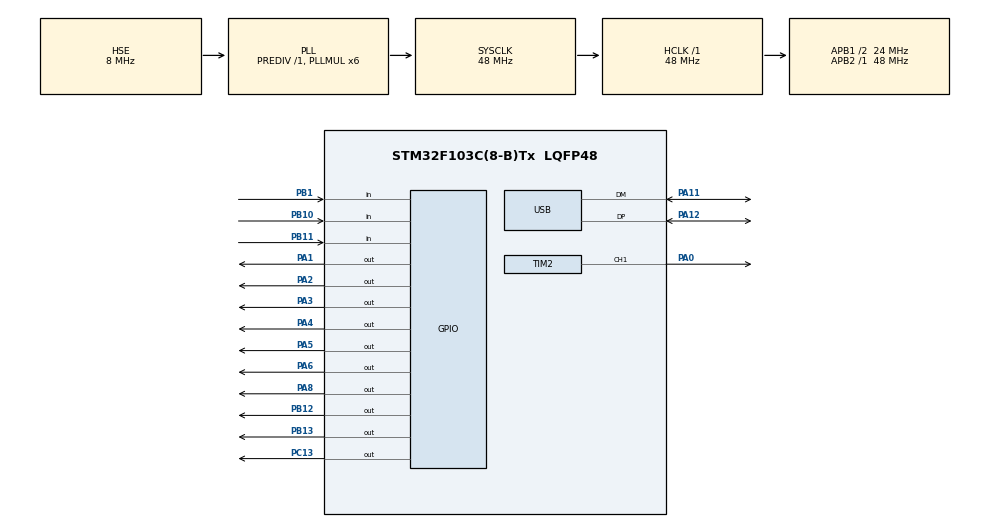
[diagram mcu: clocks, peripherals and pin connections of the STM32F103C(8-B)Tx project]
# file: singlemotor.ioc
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Mcu.Family=STM32F1
Mcu.Name=STM32F103C(8-B)Tx
Mcu.Package=LQFP48
NVIC.PriorityGroup=NVIC_PRIORITYGROUP_4
NVIC.TIM3_IRQn=true\:15\:0\:false\:false\:true\:false\:true\:true
NVIC.TimeBase=TIM3_IRQn
NVIC.TimeBaseIP=TIM3
NVIC.USB_LP_CAN1_RX0_IRQn=true\:0\:0\:false\:false\:true\:false\:true\:true
PA0-WKUP.Signal=S_TIM2_CH1_ETR
PA1.Signal=GPIO_Output
PA11.Mode=Device
PA11.Signal=USB_DM
PA12.Mode=Device
PA12.Signal=USB_DP
PA13.Mode=Serial_Wire
PA13.Signal=SYS_JTMS-SWDIO
PA14.Mode=Serial_Wire
PA14.Signal=SYS_JTCK-SWCLK
PA2.Signal=GPIO_Output
PA3.Signal=GPIO_Output
PA4.Signal=GPIO_Output
PA5.Signal=GPIO_Output
PA6.Signal=GPIO_Output
PA8.Signal=GPIO_Output
PB1.GPIO_PuPd=GPIO_PULLUP
PB1.Signal=GPIO_Input
PB10.GPIO_PuPd=GPIO_PULLUP
PB10.Signal=GPIO_Input
PB11.GPIO_PuPd=GPIO_PULLUP
PB11.Signal=GPIO_Input
PB12.Signal=GPIO_Output
PB13.Signal=GPIO_Output
PC13-TAMPER-RTC.Signal=GPIO_Output
PD0-OSC_IN.Mode=HSE-External-Oscillator
PD0-OSC_IN.Signal=RCC_OSC_IN
PD1-OSC_OUT.Mode=HSE-External-Oscillator
PD1-OSC_OUT.Signal=RCC_OSC_OUT
ProjectManager.HeapSize=0x200
ProjectManager.StackSize=0x400
ProjectManager.TargetToolchain=STM32CubeIDE
RCC.AHBFreq_Value=48000000
RCC.APB1CLKDivider=RCC_HCLK_DIV2
RCC.APB1Freq_Value=24000000
RCC.APB1TimFreq_Value=48000000
RCC.APB2Freq_Value=48000000
RCC.APB2TimFreq_Value=48000000
RCC.HCLKFreq_Value=48000000
RCC.PLLMUL=RCC_PLL_MUL6
RCC.PLLSourceVirtual=RCC_PLLSOURCE_HSE
RCC.SYSCLKFreq_VALUE=48000000
RCC.SYSCLKSource=RCC_SYSCLKSOURCE_PLLCLK
RCC.USBFreq_Value=48000000
SH.S_TIM2_CH1_ETR.0=TIM2_CH1,PWM Generation1 CH1
TIM1.Prescaler=2400
TIM2.Channel-PWM\ Generation1\ CH1=TIM_CHANNEL_1
TIM2.Prescaler=2400
USB_DEVICE.CLASS_NAME_FS=CDC
USB_DEVICE.PRODUCT_STRING_CDC_FS=STM32 Virtual Port
USB_DEVICE.VirtualMode=Cdc
USB_DEVICE.VirtualModeFS=Cdc_FS
VP_SYS_VS_tim3.Mode=TIM3
VP_TIM1_VS_ClockSourceINT.Mode=Internal
VP_TIM2_VS_ClockSourceINT.Mode=Internal
VP_USB_DEVICE_VS_USB_DEVICE_CDC_FS.Mode=CDC_FS
board=custom

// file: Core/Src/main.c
/* USER CODE BEGIN Header */
/**
  ******************************************************************************
  * @file           : main.c
  * @brief          : Main program body
  ******************************************************************************
  * @attention
  *
  * Copyright (c) 2024 STMicroelectronics.
  * All rights reserved.
  *
  * This software is licensed under terms that can be found in the LICENSE file
  * in the root directory of this software component.
  * If no LICENSE file comes with this software, it is provided AS-IS.
  *
  ******************************************************************************
  *///NEW siglemotor
/* USER CODE END Header */
#include "main.h"
#include "usb_device.h"

/* USER CODE BEGIN Includes */
#include "usbd_cdc_if.h"
#include "string.h "
#include "math.h"
/* USER CODE END Includes */

TIM_HandleTypeDef htim1;
TIM_HandleTypeDef htim2;

void SystemClock_Config(void);
static void MX_GPIO_Init(void);
static void MX_TIM1_Init(void);
static void MX_TIM2_Init(void);
/* USER CODE BEGIN PFP */
char *data = "done\n";
char *data1 = "top\n";
char *data2 = "csv";
char *data3 = "Completed\n";
char *bot = "bottom";
char *detect = "cambottomdetected";
char *undetect = "cambottomundetected";
char *feeder = "feederok";
uint8_t buffer[128];
/* USER CODE END PFP */

/* USER CODE BEGIN 0 */
#define MOTORy_STEP_PIN GPIO_PIN_1
#define MOTORy_STEP_PORT GPIOA
#define MOTORy_DIR_PIN GPIO_PIN_2
#define MOTORy_DIR_PORT GPIOA

#define MOTORx_STEP_PIN GPIO_PIN_3
#define MOTORx_STEP_PORT GPIOA
#define MOTORx_DIR_PIN GPIO_PIN_4
#define MOTORx_DIR_PORT GPIOA
//
#define MOTORz_STEP_PIN GPIO_PIN_5
#define MOTORz_STEP_PORT GPIOA
#define MOTORz_DIR_PIN GPIO_PIN_6
#define MOTORz_DIR_PORT GPIOA

#define MOTORr_STEP_PIN GPIO_PIN_13
#define MOTORr_STEP_PORT GPIOB
#define MOTORr_DIR_PIN GPIO_PIN_8
#define MOTORr_DIR_PORT GPIOA

#define PUMPER_PIN GPIO_PIN_12
#define PUMPER_PORT GPIOB
//Markhead
uint16_t home = 0;
uint16_t test;
volatile int cx=0;
volatile int cy =0;
float Rtest=0;
char *bufftest;
int standby=0;
/* Define motor directions */
#define MOTORy_FORWARD GPIO_PIN_SET
#define MOTORy_BACKWARD GPIO_PIN_RESET
#define MOTORx_LEFT GPIO_PIN_RESET
#define MOTORx_RIGHT GPIO_PIN_SET
#define MOTORz_UP GPIO_PIN_SET
#define MOTORz_DOWN GPIO_PIN_RESET
#define MOTORr_clockwise GPIO_PIN_SET

#define PUMP_OFF GPIO_PIN_RESET
#define PUMP_ON GPIO_PIN_SET
//#define LIMIT_X_PIN GPIO_PIN_10
//#define LIMIT_X_PORT GPIOB
#define LIMIT_Y_PIN GPIO_PIN_10
#define LIMIT_Y_PORT GPIOB
#define LIMIT_X_PIN GPIO_PIN_11
#define LIMIT_X_PORT GPIOB
#define LIMIT_Z_PIN GPIO_PIN_1
#define LIMIT_Z_PORT GPIOB

#define axis_X 1
#define axis_Y 2
#define axis_Z 3
#define axis_r 4
//Set
uint16_t max_pos_y = 160;
uint16_t max_pul_y = 32000;
uint16_t max_pos_x = 200;
uint16_t max_pul_x = 40000;
uint16_t max_pos_z = 400;
uint16_t max_pul_z = 8000;
uint16_t max_pos_r = 360;
uint16_t max_pul_r = 6400;
float moveX=0,moveY=0;
void delay_1ms(void)
{
 __HAL_TIM_SetCounter(&htim1, 0);
 while (__HAL_TIM_GetCounter(&htim1)<1);//fix 20 to delay 1ms 10 is a half = 0.5ms
}

void delay_ms(int time)
{
 int i = 0;
 for(i = 0; i < time; i++)
 {
   delay_1ms();
 }
}

void MotorY (unsigned long long steps, uint8_t direction)
{
  uint16_t AccMax = 1;
  int x;
  if (direction == 0)
	  HAL_GPIO_WritePin(MOTORy_DIR_PORT, MOTORy_DIR_PIN, MOTORy_BACKWARD);
  else
	  HAL_GPIO_WritePin(MOTORy_DIR_PORT, MOTORy_DIR_PIN, MOTORy_FORWARD);
  for(x=0; x<steps; x=x+1)
  {

	HAL_GPIO_WritePin(MOTORy_STEP_PORT, MOTORy_STEP_PIN, GPIO_PIN_SET);
	delay_ms(AccMax);
	HAL_GPIO_WritePin(MOTORy_STEP_PORT, MOTORy_STEP_PIN, GPIO_PIN_RESET);
	delay_ms(AccMax);
  }
}
void SetHomeY()
{
	  uint16_t AccMax = 1;
		HAL_GPIO_WritePin(MOTORy_DIR_PORT, MOTORy_DIR_PIN, GPIO_PIN_RESET);
		while(HAL_GPIO_ReadPin(LIMIT_Y_PORT,LIMIT_Y_PIN))
		{

		HAL_GPIO_WritePin(MOTORy_STEP_PORT, MOTORy_STEP_PIN, GPIO_PIN_SET);
		delay_ms(AccMax);
		HAL_GPIO_WritePin(MOTORy_STEP_PORT, MOTORy_STEP_PIN, GPIO_PIN_RESET);
		delay_ms(AccMax);
		}

}
void MotorX (uint16_t steps, uint8_t direction)
{
  uint16_t AccMax = 1;

  uint16_t x;
  if (direction == 0)
	  HAL_GPIO_WritePin(MOTORx_DIR_PORT, MOTORx_DIR_PIN, MOTORx_LEFT);
  else
	  HAL_GPIO_WritePin(MOTORx_DIR_PORT, MOTORx_DIR_PIN, MOTORx_RIGHT);
  for(x=0; x<steps; x=x+1)
  {

	HAL_GPIO_WritePin(MOTORx_STEP_PORT, MOTORx_STEP_PIN, GPIO_PIN_SET);
	delay_ms(AccMax);
	HAL_GPIO_WritePin(MOTORx_STEP_PORT, MOTORx_STEP_PIN, GPIO_PIN_RESET);
	delay_ms(AccMax);
  }
}
void SetHomeX()
{
	  uint16_t AccMax = 1;
		HAL_GPIO_WritePin(MOTORx_DIR_PORT, MOTORx_DIR_PIN, MOTORx_LEFT);
		while(HAL_GPIO_ReadPin(LIMIT_X_PORT,LIMIT_X_PIN))
		{

		HAL_GPIO_WritePin(MOTORx_STEP_PORT, MOTORx_STEP_PIN, GPIO_PIN_SET);
		delay_ms(AccMax);
		HAL_GPIO_WritePin(MOTORx_STEP_PORT, MOTORx_STEP_PIN, GPIO_PIN_RESET);
		delay_ms(AccMax);
		}
		//MotorX(600,1);
}
void MotorZ (unsigned long long steps, uint8_t direction)
{
  uint16_t AccMax = 4;
  int x;
  if (direction == 0)
	  HAL_GPIO_WritePin(MOTORz_DIR_PORT, MOTORz_DIR_PIN, MOTORz_DOWN);
  else
	  HAL_GPIO_WritePin(MOTORz_DIR_PORT, MOTORz_DIR_PIN, MOTORz_UP);
  for(x=0; x<steps; x=x+1)
  {
	HAL_GPIO_WritePin(MOTORz_STEP_PORT, MOTORz_STEP_PIN, GPIO_PIN_SET);
	delay_ms(AccMax);
	HAL_GPIO_WritePin(MOTORz_STEP_PORT, MOTORz_STEP_PIN, GPIO_PIN_RESET);
	delay_ms(AccMax);
  }

}
void MotorR (unsigned long long steps, uint8_t direction)
{
  uint16_t AccMax = 1;
  int x;
  if (direction == 0)
	  HAL_GPIO_WritePin(MOTORr_DIR_PORT, MOTORr_DIR_PIN, MOTORr_clockwise);
  else
	  HAL_GPIO_WritePin(MOTORr_DIR_PORT, MOTORr_DIR_PIN, GPIO_PIN_RESET);
  for(x=0; x<steps; x=x+1)
  {
	HAL_GPIO_WritePin(MOTORr_STEP_PORT, MOTORr_STEP_PIN, GPIO_PIN_SET);
	delay_ms(AccMax);
	HAL_GPIO_WritePin(MOTORr_STEP_PORT, MOTORr_STEP_PIN, GPIO_PIN_RESET);
	delay_ms(AccMax);
  }

}
void SetHomeZ()
{
	uint16_t AccMax = 1;
			HAL_GPIO_WritePin(MOTORz_DIR_PORT, MOTORz_DIR_PIN, GPIO_PIN_SET);
			while(HAL_GPIO_ReadPin(LIMIT_Z_PORT,LIMIT_Z_PIN))
			{

			HAL_GPIO_WritePin(MOTORz_STEP_PORT, MOTORz_STEP_PIN, GPIO_PIN_SET);
			delay_ms(AccMax);
			HAL_GPIO_WritePin(MOTORz_STEP_PORT, MOTORz_STEP_PIN, GPIO_PIN_RESET);
			delay_ms(AccMax);
			}
}

uint16_t convert(float pos, int axis)
{
    float max_pos = -1;
    float max_pul =  -1;
	switch(axis)
	{
	case axis_X:
		max_pos = (float)max_pos_x;
		max_pul = (float)max_pul_x;
		break;
	case axis_Y:
		max_pos = (float)max_pos_y;
		max_pul = (float)max_pul_y;
		break;
	case axis_r:
		max_pos = (float)max_pos_r;
		max_pul = (float)max_pul_r;
		break;
	}
	if(max_pul != -1 && max_pos!=-1)
	{
		float PosPerPul = max_pos/max_pul;
		uint16_t reqpul = (uint16_t)ceil(fabs(pos) / PosPerPul);
		test = reqpul;
		if(pos>0)
		{
			switch(axis)
			{
			case axis_X:
				MotorX(reqpul,1);
				break;
			case axis_Y:
				MotorY(reqpul,1);
				break;
			case axis_r:
				MotorR(reqpul,1);
				break;
			}
		}
		else
		{
			switch(axis)
			{
			case axis_X:
				MotorX(reqpul,0);
				break;
			case axis_Y:
				MotorY(reqpul,0);
				break;
			case axis_r:
				MotorR(reqpul,0);
				break;
			}
		}
	}
}

void reversepcb()
{
	delay_ms(500);
	MotorX(16800,0);
	delay_ms(1500);
}

void clearBuffer() {
    memset(buffer, 0, sizeof(buffer));
}

void centerPCB()
{

	uint16_t AccMax = 1;
	//17020
	HAL_GPIO_WritePin(MOTORx_DIR_PORT, MOTORx_DIR_PIN, GPIO_PIN_SET);
	HAL_GPIO_WritePin(MOTORy_DIR_PORT, MOTORy_DIR_PIN, GPIO_PIN_SET);

//34310
	for(int i = 0;i<17860;i++)//17860
	{
		//pulseY--;
		if(i<=9300)//9600
		{
			HAL_GPIO_WritePin(MOTORx_STEP_PORT, MOTORx_STEP_PIN, GPIO_PIN_SET);
			HAL_GPIO_WritePin(MOTORy_STEP_PORT, MOTORy_STEP_PIN, GPIO_PIN_SET);
			delay_ms(AccMax);
			HAL_GPIO_WritePin(MOTORx_STEP_PORT, MOTORx_STEP_PIN, GPIO_PIN_RESET);
			HAL_GPIO_WritePin(MOTORy_STEP_PORT, MOTORy_STEP_PIN, GPIO_PIN_RESET);
			delay_ms(AccMax);
		}
		else
		{
			HAL_GPIO_WritePin(MOTORx_STEP_PORT, MOTORx_STEP_PIN, GPIO_PIN_SET);
			delay_ms(AccMax);
			HAL_GPIO_WritePin(MOTORx_STEP_PORT, MOTORx_STEP_PIN, GPIO_PIN_RESET);
			delay_ms(AccMax);
		}
	}

}
void centerCam()
{
	uint16_t AccMax = 1;
	//17020
	HAL_GPIO_WritePin(MOTORx_DIR_PORT, MOTORx_DIR_PIN, GPIO_PIN_SET);
	HAL_GPIO_WritePin(MOTORy_DIR_PORT, MOTORy_DIR_PIN, GPIO_PIN_SET);

	for(int i = 0;i<9460;i++)
	{
		//pulseY--;
		if(i<4980)
		{
			HAL_GPIO_WritePin(MOTORx_STEP_PORT, MOTORx_STEP_PIN, GPIO_PIN_SET);
			HAL_GPIO_WritePin(MOTORy_STEP_PORT, MOTORy_STEP_PIN, GPIO_PIN_SET);
			delay_ms(AccMax);
			HAL_GPIO_WritePin(MOTORx_STEP_PORT, MOTORx_STEP_PIN, GPIO_PIN_RESET);
			HAL_GPIO_WritePin(MOTORy_STEP_PORT, MOTORy_STEP_PIN, GPIO_PIN_RESET);
			delay_ms(AccMax);
		}
		else
		{
			HAL_GPIO_WritePin(MOTORy_STEP_PORT, MOTORy_STEP_PIN, GPIO_PIN_SET);
			delay_ms(AccMax);
			HAL_GPIO_WritePin(MOTORy_STEP_PORT, MOTORy_STEP_PIN, GPIO_PIN_RESET);
			delay_ms(AccMax);
		}
	}
}
void SetHomeV2(int a)
{

	SetHomeZ();
	uint16_t AccMax = 1;
	HAL_GPIO_WritePin(MOTORx_DIR_PORT, MOTORx_DIR_PIN, GPIO_PIN_RESET);
	HAL_GPIO_WritePin(MOTORy_DIR_PORT, MOTORy_DIR_PIN, GPIO_PIN_RESET);
	while(1)
	{

		if(HAL_GPIO_ReadPin(LIMIT_X_PORT,LIMIT_X_PIN) && HAL_GPIO_ReadPin(LIMIT_Y_PORT,LIMIT_Y_PIN))
		{
			HAL_GPIO_WritePin(MOTORx_STEP_PORT, MOTORx_STEP_PIN, GPIO_PIN_SET);
			HAL_GPIO_WritePin(MOTORy_STEP_PORT, MOTORy_STEP_PIN, GPIO_PIN_SET);
			delay_ms(AccMax);
			HAL_GPIO_WritePin(MOTORx_STEP_PORT, MOTORx_STEP_PIN, GPIO_PIN_RESET);
			HAL_GPIO_WritePin(MOTORy_STEP_PORT, MOTORy_STEP_PIN, GPIO_PIN_RESET);
			delay_ms(AccMax);
		}
		else if(HAL_GPIO_ReadPin(LIMIT_X_PORT,LIMIT_X_PIN) && !HAL_GPIO_ReadPin(LIMIT_Y_PORT,LIMIT_Y_PIN))
		{
			HAL_GPIO_WritePin(MOTORx_STEP_PORT, MOTORx_STEP_PIN, GPIO_PIN_SET);
			delay_ms(AccMax);
			HAL_GPIO_WritePin(MOTORx_STEP_PORT, MOTORx_STEP_PIN, GPIO_PIN_RESET);
			delay_ms(AccMax);
		}
		else if(!HAL_GPIO_ReadPin(LIMIT_X_PORT,LIMIT_X_PIN) && HAL_GPIO_ReadPin(LIMIT_Y_PORT,LIMIT_Y_PIN))
				{
					HAL_GPIO_WritePin(MOTORy_STEP_PORT, MOTORy_STEP_PIN, GPIO_PIN_SET);
					delay_ms(AccMax);
					HAL_GPIO_WritePin(MOTORy_STEP_PORT, MOTORy_STEP_PIN, GPIO_PIN_RESET);
					delay_ms(AccMax);
				}
		else if(!HAL_GPIO_ReadPin(LIMIT_X_PORT,LIMIT_X_PIN) && !HAL_GPIO_ReadPin(LIMIT_Y_PORT,LIMIT_Y_PIN))
		{

			if(a==0)
			{
				//delay_ms(1000);
				centerPCB();
				//MotorZ(7000,0);
			}
			else if(a==1)
			{
				//delay_ms(10500);
				centerCam();
				//MotorZ(5000,0);
			}
			break;
		}
	}
}

void SetHomePNP()
{
//	  SetHomeZ();
//	  delay_ms(500);
//	  SetHomeX();
//	  delay_ms(500);
//	  MotorX(4000,1);
//	  delay_ms(500);
//	  SetHomeY();
//	  delay_ms(500);
//	  MotorY(8000,1);
	SetHomeZ();
	delay_ms(1000);
	SetHomeX();
	delay_ms(1000);
			 // MotorX(5400,1);//-100
	convert(20,axis_X); //R3 54
	delay_ms(1000);
	SetHomeY();
	delay_ms(1000);
			  //MotorY(4300,1);
	convert(37.5,axis_Y);//45.5
	delay_ms(1500);

}

void SetHome2()
{
	SetHomeZ();
	delay_ms(1000);
	SetHomeX();
	delay_ms(1000);
	// MotorX(5400,1);//-100
	convert(85.1,axis_X); //R3 54
	delay_ms(1000);
	SetHomeY();
	delay_ms(1000);
	//MotorY(4300,1);
	convert(44.3,axis_Y);//43.1
	delay_ms(1500);
}
void centerFeederV2()
{
	uint16_t AccMax = 1;
		//17020
		HAL_GPIO_WritePin(MOTORx_DIR_PORT, MOTORx_DIR_PIN, GPIO_PIN_SET);
		HAL_GPIO_WritePin(MOTORy_DIR_PORT, MOTORy_DIR_PIN, GPIO_PIN_SET);

		for(int i = 0;i<17690;i++)
		{
			//pulseY--;
			if(i<=9260)
			{
				HAL_GPIO_WritePin(MOTORx_STEP_PORT, MOTORx_STEP_PIN, GPIO_PIN_SET);
				HAL_GPIO_WritePin(MOTORy_STEP_PORT, MOTORy_STEP_PIN, GPIO_PIN_SET);
				delay_ms(AccMax);
				HAL_GPIO_WritePin(MOTORx_STEP_PORT, MOTORx_STEP_PIN, GPIO_PIN_RESET);
				HAL_GPIO_WritePin(MOTORy_STEP_PORT, MOTORy_STEP_PIN, GPIO_PIN_RESET);
				delay_ms(AccMax);
			}
			else
			{
				HAL_GPIO_WritePin(MOTORx_STEP_PORT, MOTORx_STEP_PIN, GPIO_PIN_SET);
				delay_ms(AccMax);
				HAL_GPIO_WritePin(MOTORx_STEP_PORT, MOTORx_STEP_PIN, GPIO_PIN_RESET);
				delay_ms(AccMax);
			}
		}

}

void centerFeeder()
{
	uint16_t AccMax = 1;
	//17020
	HAL_GPIO_WritePin(MOTORx_DIR_PORT, MOTORx_DIR_PIN, GPIO_PIN_SET);
	HAL_GPIO_WritePin(MOTORy_DIR_PORT, MOTORy_DIR_PIN, GPIO_PIN_SET);

	for(int i = 0;i<21000;i++)
	{
		//pulseY--;
		if(i<16400)
		{
			HAL_GPIO_WritePin(MOTORx_STEP_PORT, MOTORx_STEP_PIN, GPIO_PIN_SET);
			HAL_GPIO_WritePin(MOTORy_STEP_PORT, MOTORy_STEP_PIN, GPIO_PIN_SET);
			delay_ms(AccMax);
			HAL_GPIO_WritePin(MOTORx_STEP_PORT, MOTORx_STEP_PIN, GPIO_PIN_RESET);
			HAL_GPIO_WritePin(MOTORy_STEP_PORT, MOTORy_STEP_PIN, GPIO_PIN_RESET);
			delay_ms(AccMax);
		}
		else
		{
			HAL_GPIO_WritePin(MOTORy_STEP_PORT, MOTORy_STEP_PIN, GPIO_PIN_SET);
			delay_ms(AccMax);
			HAL_GPIO_WritePin(MOTORy_STEP_PORT, MOTORy_STEP_PIN, GPIO_PIN_RESET);
			delay_ms(AccMax);
		}
	}
}

void checkpointcambot()
{
	  //delay_ms(500);
	  MotorX(16800,1);
	  delay_ms(500);
	 // MotorY(20,0);

}

void checkpointfeeder()
{
	  delay_ms(500);
	  MotorY(21100,1);//20950
}
void Checkbottom()
{

	MotorY(21100,0);
	delay_ms(2500);
	CDC_Transmit_FS(bot, strlen((char*)bot));
	ListenBot("cambottomok");

}
void testbottom()
{
	MotorY(21100,0);
	delay_ms(15000);
}
void CamTopFeeder()
{
	MotorX(12580,0);
	delay_ms(1500);
	MotorY(5700,1);
	delay_ms(1500);
}
void reverseFeeder()
{
		MotorX(12580,1);
		delay_ms(1500);
		MotorY(5700,0);
		delay_ms(1500);
}
void listen(char* message)
{

    while (strcmp((char*)buffer, message) != 0)
    {
        delay_ms(4000);
    }

    //CDC_Transmit_FS(data, strlen((char*)data));
}
void ListenBot(char* message)
{
	int startTime = HAL_GetTick();
	clearBuffer();
	  while (strcmp((char*)buffer, message) != 0)
	    {
		          if (HAL_GetTick() - startTime >= 20000)
		          {
		        	 // checkpointfeeder();
		        	 // SetHomeV2(0);
		        	  clearBuffer();
		        	  HAL_GPIO_WritePin(PUMPER_PORT, PUMPER_PIN, PUMP_OFF);
		        	  listen("start");
		        	  run();
		        	  //run();
		        	  //  NVIC_SystemReset();
		              return;//NVIC_SystemReset(); // Reset the STM32
		          }

	        delay_ms(4000);
	    }
	  return;

}
char numStr[21];
void ull_to_string(char* str, unsigned long long a) {
    char convert[21]; // Buffer to hold the number plus a null-terminator
    int i = 0;

    if (a == 0) {
        convert[i++] = '0';
    }

    // Convert number to string in reverse order
    while (a != 0) {
        unsigned long long last_digit = a % 10;
        convert[i++] = '0' + last_digit;
        a /= 10;
    }

    convert[i] = '\0'; // Null-terminate the string

    // Reverse the string
    int j;
    for (j = 0; j < i / 2; j++) {
        char tmp = convert[j];
        convert[j] = convert[i - 1 - j];
        convert[i - 1 - j] = tmp;
    }

    strcpy(str, convert); // Copy the reversed string to the output
}
void float_to_string(char* str, float value) {
    sprintf(str,"%.3f", value); // Convert float to string with 6 decimal places
}

struct PartData {
    char part_id; // Store only the first character of the Part ID
    float rotation;
    float x;
    float y;
};
//markcomp
#define MAX_PARTS 100
struct PartData parts[MAX_PARTS];

int part_count = 0;
uint8_t newdata[64];
// Function to parse incoming data string
struct PartData parseDataString(char *data) {
    char *token = strtok(data, ",");
    struct PartData partData;
    // Store part_id
    if (token != NULL)
        partData.part_id = token[0]; // Store only the first character of the Part ID

    // Move to the next token and store rotation
    token = strtok(NULL, ",");
    if (token != NULL)
        partData.rotation = atof(token); // Convert string to float

    // Move to the next token and store x
    token = strtok(NULL, ",");
    if (token != NULL)
        partData.x = atof(token); // Convert string to float

    // Move to the next token and store y
    token = strtok(NULL, ",");
    if (token != NULL)
        partData.y = atof(token); // Convert string to float
    return partData;
}

void SendCheckY()
{
	char numStr[32];

	    for (int i = 0; i < part_count; i++) {
	        float_to_string(numStr, parts[i].y);
	        delay_ms(500);
	        CDC_Transmit_FS((uint8_t *)numStr, strlen(numStr));
	        delay_ms(2000);
	    }
}

void SendCheck() {
    for (int i = 0; i < part_count; i++) {
        char message[2]; // Buffer to hold the part_id and a null terminator
        message[0] = parts[i].part_id; // Assign the part ID to the first character
        message[1] = '\0'; // Null-terminate the string

        CDC_Transmit_FS((uint8_t*)message, 1); // Send only the part_id character
        delay_ms(4000); // Adjust the delay as needed
    }
}
void Component()
{
	CDC_Transmit_FS(data2, strlen((char*)data2));
	clearBuffer();
	char *end = "end";
	 while (strcmp((char*)buffer, end) != 0)
	  {
		 CDC_Transmit_FS(buffer, strlen((char*)buffer));
		 struct PartData partData = parseDataString(buffer);
		 // Only add parts with non-zero x and y values
		         if (fabs(partData.x) > 0.0001 && fabs(partData.y) > 0.0001)
		         {
		             parts[part_count++] = partData;
		         }
		 clearBuffer();
		 	delay_ms(6000);
	  }
	 CDC_Transmit_FS(data3, strlen((char*)data3));
	 delay_ms(2000);
}

void Joystick()
{
	char *calib = "calib";
	//clearBuffer();
	//transmit somthign trigger python
	CDC_Transmit_FS(calib, strlen((char*)calib));
		clearBuffer();
		char *end = "start";
		 while (strcmp((char*)buffer, end) != 0)
		  {
			 if (strcmp(buffer, "forward") == 0)
			 {
			     MotorY(20, 0);
			     cy = cy + 20;
			     clearBuffer();  // Clear buffer after processing command
			     delay_ms(500);

			 }
			 else if (strcmp(buffer, "backward") == 0)
			 {
			     MotorY(20, 1);
			     clearBuffer();  // Clear buffer after processing command
			     delay_ms(500);

			 }
			 else if (strcmp(buffer, "left") == 0)
			 {
			     MotorX(20, 0);
			     clearBuffer();  // Clear buffer after processing command
			     delay_ms(500);
			 }
			 else if (strcmp(buffer, "right") == 0)
			 {
			     MotorX(20, 1);
			     clearBuffer();  // Clear buffer after processing command
			     delay_ms(500);

			 }
			 else if (strcmp(buffer, "up") == 0)
			 {
				 SetHomeZ();
			     clearBuffer();  // Clear buffer after processing command
			     delay_ms(500);
			 }
			 else if (strcmp(buffer, "down") == 0)
			 {
				if(!HAL_GPIO_ReadPin(LIMIT_Z_PORT,LIMIT_Z_PIN))
				{
				 MotorZ(7000, 0);
			     clearBuffer();  // Clear buffer after processing command
			     delay_ms(500);
				}
				 clearBuffer();
			}

		  }

}

void pickIC(int a)
{
	delay_ms(3500);
	convert(-20.5,axis_X);
	delay_ms(3500);
	a = a*(8);
	convert((37.7-a),axis_Y);
	//convert((45.2),axis_Y);
	delay_ms(3500);
	MotorZ(7380,0);
	delay_ms(1500);
	HAL_GPIO_WritePin(PUMPER_PORT, PUMPER_PIN, PUMP_ON);
	delay_ms(20500);
	SetHomeZ();
	delay_ms(3500);
	convert(20.5,axis_X);
	delay_ms(3500);
	convert(((-1)*(37.7-a)),axis_Y);
	delay_ms(3500);
}
void pickCAP(int a)
{
	delay_ms(3500);
	convert(-4.8,axis_X);
	delay_ms(3500);
	a = a*(4);
	convert((36.2-a),axis_Y);
	delay_ms(3500);
	MotorZ(7200,0);
	delay_ms(1500);
	HAL_GPIO_WritePin(PUMPER_PORT, PUMPER_PIN, PUMP_ON);
	delay_ms(20500);
	SetHomeZ();
	delay_ms(3500);
	convert(4.8,axis_X);
	delay_ms(3500);
	convert(((-1)*(36.2-a)),axis_Y);
	delay_ms(3500);
}
void pickLed(int a)
{
	delay_ms(3500);
	convert(10.4,axis_X);
	delay_ms(3500);
	a = a*(4.2);
	convert((36-a),axis_Y);
	delay_ms(3500);
	MotorZ(7260,0);
	delay_ms(1500);
	HAL_GPIO_WritePin(PUMPER_PORT, PUMPER_PIN, PUMP_ON);
	delay_ms(20500);
	SetHomeZ();
	delay_ms(3500);
	convert(-10.4,axis_X);
	delay_ms(3500);
	convert(((-1)*(36-a)),axis_Y);
	delay_ms(3500);
}
void pickRes(int a)
{
	delay_ms(3500);
	convert(22.6,axis_X);
	delay_ms(3500);
	a = a*(4.1);
	convert((35.6-a),axis_Y);
	delay_ms(3500);
	MotorZ(7180,0);
	delay_ms(1500);
	HAL_GPIO_WritePin(PUMPER_PORT, PUMPER_PIN, PUMP_ON);
	delay_ms(20500);
	SetHomeZ();
	delay_ms(3500);
	convert(-22.6,axis_X);
	delay_ms(3500);
	convert(((-1)*(35.6-a)),axis_Y);
	delay_ms(3500);
}
void testserial()
{
	listen("bottom");
}
void Stage1()
{
	char *trigcamtop = "capture";
	listen("start");
	SetHomeV2(1);
	CDC_Transmit_FS(trigcamtop, strlen((char*)trigcamtop));
	delay_ms(500);
	listen("camtopok");
}
void Stage2()
{
	//SetHome2();
//	SetHomeV2(0);
//	//Joystick();
//	 //SetHomeZ();
//	checkpointcambot();
//	checkpointfeeder();
//	CamTopFeeder();

	SetHomeV2(0);
	MotorX(16750,1);
	  //Joystick();
	autoCalib();
	MotorX(16800,0);
	MotorZ(6950, 0);
	delay_ms(40000);
	SetHomeZ();
	delay_ms(500);
	MotorX(16840,1);
	delay_ms(3000);
	autoCalib();
	checkpointfeeder();
	CamTopFeeder();

}
void Stage3()
{
	char *trigfeeder = "checkfeeder";
	//transmit somthign trigger python
	CDC_Transmit_FS(trigfeeder, strlen((char*)trigfeeder));
	delay_ms(500);
	listen("feederok");
	delay_ms(1500);

	//listen("LoadData");
	Component();
	reverseFeeder();
}

void Stage4()
{

	//automation
	int part_num=0;
	//fix to float
	static int cap=0,ic=0,res=0,led=0;
	for(int i =0;i<part_count;i++)
	{

		part_num=i;
		//moveX = parts[i].x;
		//moveY = parts[i].y;
		if(parts[i].part_id=='U')
		{
			pickIC(ic);
			ic++;
		}
		else if(parts[i].part_id=='C')
		{
			pickCAP(cap);
			cap++;
		}
		else if(parts[i].part_id=='R')
		{
			pickRes(res);
			res++;

		}
		else if(parts[i].part_id=='D')
		{
			pickLed(led);
			led++;
		}
	Checkbottom();
		//testbottom();
		convert(parts[i].rotation,axis_r);
		reversepcb();
	    if (fabs(parts[i].x) > 0.0001)
	    {
	        convert(parts[i].x, axis_X);
	        delay_ms(1500);
	    }

	    // Check and skip if parts[i].y is exactly zero
	    if (fabs(parts[i].y) > 0.0001)
	    {
	        convert(parts[i].y, axis_Y);
	        delay_ms(1500);
	    }

	    MotorZ(7000, 0);
	    delay_ms(1500);
		HAL_GPIO_WritePin(PUMPER_PORT, PUMPER_PIN, PUMP_OFF);
		delay_ms(40500);
	    SetHomeZ();
	    delay_ms(1500);

	    // Check and skip if parts[i].x is exactly zero for reverse movement
	    if (fabs(parts[i].x) > 0.0001)
	    {
	        convert(parts[i].x * (-1), axis_X);
	        delay_ms(1500);
	    }

	    // Check and skip if parts[i].y is exactly zero for reverse movement
	    if (fabs(parts[i].y) > 0.0001)
	    {
	        convert(parts[i].y * (-1), axis_Y);
	        delay_ms(1500);
	    }
		checkpointcambot();
		autoCalib();
		checkpointfeeder();
	}
	//SetHome2();
	SetHomeV2(1);
	char *check = "finalcheck";
		//transmit somthign trigger python
		CDC_Transmit_FS(check, strlen((char*)check));
}

void testPick()
{
	int part_num=0;
	int cap=0,ic=0,res=0,led=0;
	for(int i =0;i<part_count;i++)
	{
		part_num=i;
		moveX = parts[i].x;
		moveY = parts[i].y;
		if(parts[i].part_id=='U')
				{
					pickIC(ic);
					ic++;
				}
				else if(parts[i].part_id=='C')
				{
					pickCAP(cap);
					cap++;
				}
				else if(parts[i].part_id=='R')
				{
					pickRes(res);
					res++;

				}
				else if(parts[i].part_id=='D')
				{
					pickLed(led);
					led++;
				}
		//Checkbottom();
		//MotorY(21000,0);
		//delay_ms(15000);
		//checkpointfeeder();

	}
}
void autoCalib()
{
	char *calib = "autocalib";
		//clearBuffer();
		//transmit somthign trigger python
		CDC_Transmit_FS(calib, strlen((char*)calib));
			clearBuffer();
			char *end = "start";
			 while (strcmp((char*)buffer, end) != 0)
			  {
				 if (strcmp(buffer, "forward") == 0)
				 {
				     MotorY(20, 0);
				     clearBuffer();  // Clear buffer after processing command
				     delay_ms(500);

				 }
				 else if (strcmp(buffer, "backward") == 0)
				 {
				     MotorY(20, 1);
				     clearBuffer();
				     delay_ms(500);

				 }
				 else if (strcmp(buffer, "left") == 0)
				 {
				     MotorX(20, 0);
				     clearBuffer();  // Clear buffer after processing command
				     delay_ms(500);
				 }
				 else if (strcmp(buffer, "right") == 0)
				 {
				     MotorX(20, 1);
				     clearBuffer();  // Clear buffer after processing command
				     delay_ms(500);

				 }
				 else if (strcmp(buffer, "up") == 0)
				 {
					 SetHomeZ();
				     clearBuffer();  // Clear buffer after processing command
				     delay_ms(500);
				 }
				 else if (strcmp(buffer, "down") == 0)
				 {
					if(!HAL_GPIO_ReadPin(LIMIT_Z_PORT,LIMIT_Z_PIN))
					{
					 MotorZ(7000, 0);
				     clearBuffer();  // Clear buffer after processing command
				     delay_ms(500);
					}
					 clearBuffer();
				}

			  }

}
void run2()
{
	Stage2();
	Stage3();
	Stage4();
}
void run()
{
	while(1)
	{
		Stage1();
		Stage2();
		Stage3();
		Stage4();
		clearBuffer();
	}
}
/* USER CODE END 0 */

int main(void)
{

  /* MCU Configuration--------------------------------------------------------*/

  /* Reset of all peripherals, Initializes the Flash interface and the Systick. */
  HAL_Init();

  /* Configure the system clock */
  SystemClock_Config();

  /* Initialize all configured peripherals */
  MX_GPIO_Init();
  MX_TIM1_Init();
  MX_TIM2_Init();
  MX_USB_DEVICE_Init();
  /* USER CODE BEGIN 2 */
  HAL_TIM_Base_Start(&htim1);
  /* USER CODE END 2 */
 // SetHomeZ();
  run();

  /* Infinite loop */
  /* USER CODE BEGIN WHILE */
  while (1)
  {

//	  delay_ms(5000);
//	  MotorZ(7000, 0);
//	  delay_ms(5000);
    /* USER CODE END WHILE */

    /* USER CODE BEGIN 3 */
	  // Transmit fixed message
//	          CDC_Transmit_FS(data, strlen((char *)data));
//	          HAL_Delay(1000);
//	          // Convert num to string and transmit
//	          ull_to_string(numStr, num);
//	          CDC_Transmit_FS((uint8_t *)numStr, strlen(numStr));
	        //  listen();
	          //HAL_Delay(1000);

    /* USER CODE BEGIN 3 */
  }
  /* USER CODE END 3 */
}

void SystemClock_Config(void)
{
  RCC_OscInitTypeDef RCC_OscInitStruct = {0};
  RCC_ClkInitTypeDef RCC_ClkInitStruct = {0};
  RCC_PeriphCLKInitTypeDef PeriphClkInit = {0};

  /** Initializes the RCC Oscillators according to the specified parameters
  * in the RCC_OscInitTypeDef structure.
  */
  RCC_OscInitStruct.OscillatorType = RCC_OSCILLATORTYPE_HSE;
  RCC_OscInitStruct.HSEState = RCC_HSE_ON;
  RCC_OscInitStruct.HSEPredivValue = RCC_HSE_PREDIV_DIV1;
  RCC_OscInitStruct.HSIState = RCC_HSI_ON;
  RCC_OscInitStruct.PLL.PLLState = RCC_PLL_ON;
  RCC_OscInitStruct.PLL.PLLSource = RCC_PLLSOURCE_HSE;
  RCC_OscInitStruct.PLL.PLLMUL = RCC_PLL_MUL6;
  if (HAL_RCC_OscConfig(&RCC_OscInitStruct) != HAL_OK)
  {
    Error_Handler();
  }

  /** Initializes the CPU, AHB and APB buses clocks
  */
  RCC_ClkInitStruct.ClockType = RCC_CLOCKTYPE_HCLK|RCC_CLOCKTYPE_SYSCLK
                              |RCC_CLOCKTYPE_PCLK1|RCC_CLOCKTYPE_PCLK2;
  RCC_ClkInitStruct.SYSCLKSource = RCC_SYSCLKSOURCE_PLLCLK;
  RCC_ClkInitStruct.AHBCLKDivider = RCC_SYSCLK_DIV1;
  RCC_ClkInitStruct.APB1CLKDivider = RCC_HCLK_DIV2;
  RCC_ClkInitStruct.APB2CLKDivider = RCC_HCLK_DIV1;

  if (HAL_RCC_ClockConfig(&RCC_ClkInitStruct, FLASH_LATENCY_1) != HAL_OK)
  {
    Error_Handler();
  }
  PeriphClkInit.PeriphClockSelection = RCC_PERIPHCLK_USB;
  PeriphClkInit.UsbClockSelection = RCC_USBCLKSOURCE_PLL;
  if (HAL_RCCEx_PeriphCLKConfig(&PeriphClkInit) != HAL_OK)
  {
    Error_Handler();
  }
}

static void MX_TIM1_Init(void)
{

  TIM_ClockConfigTypeDef sClockSourceConfig = {0};
  TIM_MasterConfigTypeDef sMasterConfig = {0};

  htim1.Instance = TIM1;
  htim1.Init.Prescaler = 2400;
  htim1.Init.CounterMode = TIM_COUNTERMODE_UP;
  htim1.Init.Period = 65535;
  htim1.Init.ClockDivision = TIM_CLOCKDIVISION_DIV1;
  htim1.Init.RepetitionCounter = 0;
  htim1.Init.AutoReloadPreload = TIM_AUTORELOAD_PRELOAD_DISABLE;
  if (HAL_TIM_Base_Init(&htim1) != HAL_OK)
  {
    Error_Handler();
  }
  sClockSourceConfig.ClockSource = TIM_CLOCKSOURCE_INTERNAL;
  if (HAL_TIM_ConfigClockSource(&htim1, &sClockSourceConfig) != HAL_OK)
  {
    Error_Handler();
  }
  sMasterConfig.MasterOutputTrigger = TIM_TRGO_RESET;
  sMasterConfig.MasterSlaveMode = TIM_MASTERSLAVEMODE_DISABLE;
  if (HAL_TIMEx_MasterConfigSynchronization(&htim1, &sMasterConfig) != HAL_OK)
  {
    Error_Handler();
  }

}

static void MX_TIM2_Init(void)
{

  TIM_ClockConfigTypeDef sClockSourceConfig = {0};
  TIM_MasterConfigTypeDef sMasterConfig = {0};
  TIM_OC_InitTypeDef sConfigOC = {0};

  htim2.Instance = TIM2;
  htim2.Init.Prescaler = 2400;
  htim2.Init.CounterMode = TIM_COUNTERMODE_UP;
  htim2.Init.Period = 65535;
  htim2.Init.ClockDivision = TIM_CLOCKDIVISION_DIV1;
  htim2.Init.AutoReloadPreload = TIM_AUTORELOAD_PRELOAD_DISABLE;
  if (HAL_TIM_Base_Init(&htim2) != HAL_OK)
  {
    Error_Handler();
  }
  sClockSourceConfig.ClockSource = TIM_CLOCKSOURCE_INTERNAL;
  if (HAL_TIM_ConfigClockSource(&htim2, &sClockSourceConfig) != HAL_OK)
  {
    Error_Handler();
  }
  if (HAL_TIM_PWM_Init(&htim2) != HAL_OK)
  {
    Error_Handler();
  }
  sMasterConfig.MasterOutputTrigger = TIM_TRGO_RESET;
  sMasterConfig.MasterSlaveMode = TIM_MASTERSLAVEMODE_DISABLE;
  if (HAL_TIMEx_MasterConfigSynchronization(&htim2, &sMasterConfig) != HAL_OK)
  {
    Error_Handler();
  }
  sConfigOC.OCMode = TIM_OCMODE_PWM1;
  sConfigOC.Pulse = 0;
  sConfigOC.OCPolarity = TIM_OCPOLARITY_HIGH;
  sConfigOC.OCFastMode = TIM_OCFAST_DISABLE;
  if (HAL_TIM_PWM_ConfigChannel(&htim2, &sConfigOC, TIM_CHANNEL_1) != HAL_OK)
  {
    Error_Handler();
  }
  HAL_TIM_MspPostInit(&htim2);

}

static void MX_GPIO_Init(void)
{
  GPIO_InitTypeDef GPIO_InitStruct = {0};

  /* GPIO Ports Clock Enable */
  __HAL_RCC_GPIOC_CLK_ENABLE();
  __HAL_RCC_GPIOD_CLK_ENABLE();
  __HAL_RCC_GPIOA_CLK_ENABLE();
  __HAL_RCC_GPIOB_CLK_ENABLE();

  /*Configure GPIO pin Output Level */
  HAL_GPIO_WritePin(GPIOC, GPIO_PIN_13, GPIO_PIN_RESET);

  /*Configure GPIO pin Output Level */
  HAL_GPIO_WritePin(GPIOA, GPIO_PIN_1|GPIO_PIN_2|GPIO_PIN_3|GPIO_PIN_4
                          |GPIO_PIN_5|GPIO_PIN_6|GPIO_PIN_8, GPIO_PIN_RESET);

  /*Configure GPIO pin Output Level */
  HAL_GPIO_WritePin(GPIOB, GPIO_PIN_12|GPIO_PIN_13, GPIO_PIN_RESET);

  /*Configure GPIO pin : PC13 */
  GPIO_InitStruct.Pin = GPIO_PIN_13;
  GPIO_InitStruct.Mode = GPIO_MODE_OUTPUT_PP;
  GPIO_InitStruct.Pull = GPIO_NOPULL;
  GPIO_InitStruct.Speed = GPIO_SPEED_FREQ_LOW;
  HAL_GPIO_Init(GPIOC, &GPIO_InitStruct);

  /*Configure GPIO pins : PA1 PA2 PA3 PA4
                           PA5 PA6 PA8 */
  GPIO_InitStruct.Pin = GPIO_PIN_1|GPIO_PIN_2|GPIO_PIN_3|GPIO_PIN_4
                          |GPIO_PIN_5|GPIO_PIN_6|GPIO_PIN_8;
  GPIO_InitStruct.Mode = GPIO_MODE_OUTPUT_PP;
  GPIO_InitStruct.Pull = GPIO_NOPULL;
  GPIO_InitStruct.Speed = GPIO_SPEED_FREQ_LOW;
  HAL_GPIO_Init(GPIOA, &GPIO_InitStruct);

  /*Configure GPIO pins : PB1 PB10 PB11 */
  GPIO_InitStruct.Pin = GPIO_PIN_1|GPIO_PIN_10|GPIO_PIN_11;
  GPIO_InitStruct.Mode = GPIO_MODE_INPUT;
  GPIO_InitStruct.Pull = GPIO_PULLUP;
  HAL_GPIO_Init(GPIOB, &GPIO_InitStruct);

  /*Configure GPIO pins : PB12 PB13 */
  GPIO_InitStruct.Pin = GPIO_PIN_12|GPIO_PIN_13;
  GPIO_InitStruct.Mode = GPIO_MODE_OUTPUT_PP;
  GPIO_InitStruct.Pull = GPIO_NOPULL;
  GPIO_InitStruct.Speed = GPIO_SPEED_FREQ_LOW;
  HAL_GPIO_Init(GPIOB, &GPIO_InitStruct);

}

void HAL_TIM_PeriodElapsedCallback(TIM_HandleTypeDef *htim)
{
  if (htim->Instance == TIM3) {
    HAL_IncTick();
  }
}

void Error_Handler(void)
{
  __disable_irq();
  while (1)
  {
  }
}
